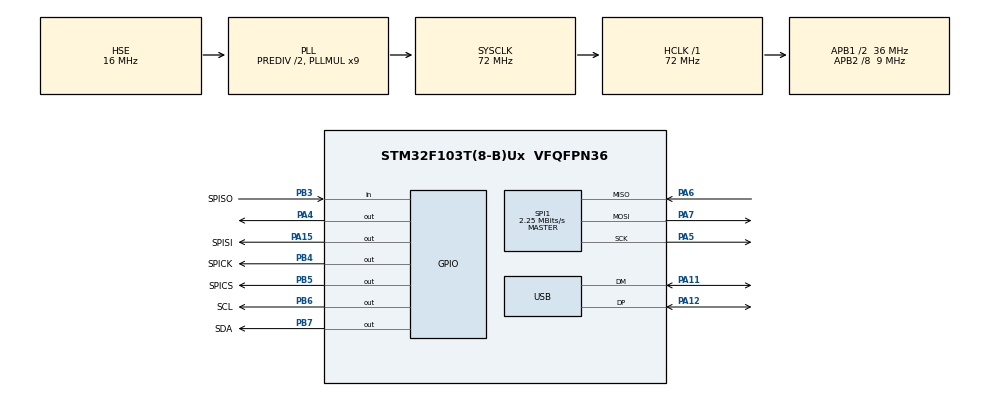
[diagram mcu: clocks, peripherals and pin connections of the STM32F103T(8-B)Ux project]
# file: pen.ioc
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FATFS._CODE_PAGE=936
FATFS._MAX_LFN=20
FATFS._MAX_SS=4096
FATFS._USE_LFN=2
FATFS._VOLUMES=2
Mcu.Family=STM32F1
Mcu.Name=STM32F103T(8-B)Ux
Mcu.Package=VFQFPN36
NVIC.PriorityGroup=NVIC_PRIORITYGROUP_4
NVIC.USB_LP_CAN1_RX0_IRQn=true\:0\:0\:false\:false\:true
PA11.Mode=Device
PA11.Signal=USB_DM
PA12.Mode=Device
PA12.Signal=USB_DP
PA13.Mode=Serial_Wire
PA13.Signal=SYS_JTMS-SWDIO
PA14.Mode=Serial_Wire
PA14.Signal=SYS_JTCK-SWCLK
PA15.GPIO_Label=SPISI
PA15.Signal=GPIO_Output
PA4.GPIO_Speed=GPIO_SPEED_FREQ_HIGH
PA4.Signal=GPIO_Output
PA5.Mode=Full_Duplex_Master
PA5.Signal=SPI1_SCK
PA6.Mode=Full_Duplex_Master
PA6.Signal=SPI1_MISO
PA7.Mode=Full_Duplex_Master
PA7.Signal=SPI1_MOSI
PB3.GPIO_Label=SPISO
PB3.GPIO_PuPd=GPIO_PULLUP
PB3.Signal=GPIO_Input
PB4.GPIO_Label=SPICK
PB4.Signal=GPIO_Output
PB5.GPIO_Label=SPICS
PB5.Signal=GPIO_Output
PB6.GPIO_Label=SCL
PB6.GPIO_Speed=GPIO_SPEED_FREQ_LOW
PB6.Signal=GPIO_Output
PB7.GPIO_Label=SDA
PB7.GPIO_Speed=GPIO_SPEED_FREQ_LOW
PB7.Signal=GPIO_Output
PD0-OSC_IN.Mode=HSE-External-Oscillator
PD0-OSC_IN.Signal=RCC_OSC_IN
PD1-OSC_OUT.Mode=HSE-External-Oscillator
PD1-OSC_OUT.Signal=RCC_OSC_OUT
ProjectManager.HeapSize=0x200
ProjectManager.StackSize=0x400
ProjectManager.TargetToolchain=EWARM
RCC.AHBFreq_Value=72000000
RCC.APB1CLKDivider=RCC_HCLK_DIV2
RCC.APB1Freq_Value=36000000
RCC.APB1TimFreq_Value=72000000
RCC.APB2CLKDivider=RCC_HCLK_DIV8
RCC.APB2Freq_Value=9000000
RCC.APB2TimFreq_Value=18000000
RCC.HCLKFreq_Value=72000000
RCC.HSEDivPLL=RCC_HSE_PREDIV_DIV2
RCC.HSE_VALUE=16000000
RCC.HSIState=RCC_HSI_ON
RCC.PLLMUL=RCC_PLL_MUL9
RCC.SYSCLKFreq_VALUE=72000000
RCC.SYSCLKSource=RCC_SYSCLKSOURCE_PLLCLK
RCC.USBFreq_Value=48000000
RCC.USBPrescaler=RCC_USBCLKSOURCE_PLL_DIV1_5
SPI1.BaudRatePrescaler=SPI_BAUDRATEPRESCALER_4
SPI1.CLKPhase=SPI_PHASE_2EDGE
SPI1.CLKPolarity=SPI_POLARITY_HIGH
SPI1.CalculateBaudRate=2.25 MBits/s
SPI1.Mode=SPI_MODE_MASTER
USB.ep0_mps=DEP0CTL_MPS_64
USB_DEVICE.CLASS_NAME_FS=MSC
USB_DEVICE.MSC_MEDIA_PACKET-MSC_FS=0x800
USB_DEVICE.VirtualModeFS=Msc_FS
VP_FATFS_VS_Generic.Mode=User_defined
VP_USB_DEVICE_VS_USB_DEVICE_MSC_FS.Mode=MSC_FS
board=pen

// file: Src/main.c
/**
  ******************************************************************************
  * File Name          : main.c
  * Description        : Main program body
  ******************************************************************************
  *
  * Copyright (c) 2018 STMicroelectronics International N.V.
  * All rights reserved.
  *
  * Redistribution and use in source and binary forms, with or without
  * modification, are permitted, provided that the following conditions are met:
  *
  * 1. Redistribution of source code must retain the above copyright notice,
  *    this list of conditions and the following disclaimer.
  * 2. Redistributions in binary form must reproduce the above copyright notice,
  *    this list of conditions and the following disclaimer in the documentation
  *    and/or other materials provided with the distribution.
  * 3. Neither the name of STMicroelectronics nor the names of other
  *    contributors to this software may be used to endorse or promote products
  *    derived from this software without specific written permission.
  * 4. This software, including modifications and/or derivative works of this
  *    software, must execute solely and exclusively on microcontroller or
  *    microprocessor devices manufactured by or for STMicroelectronics.
  * 5. Redistribution and use of this software other than as permitted under
  *    this license is void and will automatically terminate your rights under
  *    this license.
  *
  * THIS SOFTWARE IS PROVIDED BY STMICROELECTRONICS AND CONTRIBUTORS "AS IS"
  * AND ANY EXPRESS, IMPLIED OR STATUTORY WARRANTIES, INCLUDING, BUT NOT
  * LIMITED TO, THE IMPLIED WARRANTIES OF MERCHANTABILITY, FITNESS FOR A
  * PARTICULAR PURPOSE AND NON-INFRINGEMENT OF THIRD PARTY INTELLECTUAL PROPERTY
  * RIGHTS ARE DISCLAIMED TO THE FULLEST EXTENT PERMITTED BY LAW. IN NO EVENT
  * SHALL STMICROELECTRONICS OR CONTRIBUTORS BE LIABLE FOR ANY DIRECT, INDIRECT,
  * INCIDENTAL, SPECIAL, EXEMPLARY, OR CONSEQUENTIAL DAMAGES (INCLUDING, BUT NOT
  * LIMITED TO, PROCUREMENT OF SUBSTITUTE GOODS OR SERVICES; LOSS OF USE, DATA,
  * OR PROFITS; OR BUSINESS INTERRUPTION) HOWEVER CAUSED AND ON ANY THEORY OF
  * LIABILITY, WHETHER IN CONTRACT, STRICT LIABILITY, OR TORT (INCLUDING
  * NEGLIGENCE OR OTHERWISE) ARISING IN ANY WAY OUT OF THE USE OF THIS SOFTWARE,
  * EVEN IF ADVISED OF THE POSSIBILITY OF SUCH DAMAGE.
  *
  ******************************************************************************
  */
#include "main.h"
#include "stm32f1xx_hal.h"
#include "fatfs.h"
#include "usb_device.h"

/* USER CODE BEGIN Includes */
#include "oled.h"
#include "LCD_ZK.h"
#include "bsp_spiflash.h"
/* USER CODE END Includes */

SPI_HandleTypeDef hspi1;

/* USER CODE BEGIN PV */
/* Private variables ---------------------------------------------------------*/

/* USER CODE END PV */

void SystemClock_Config(void);
void Error_Handler(void);
static void MX_GPIO_Init(void);
static void MX_SPI1_Init(void);

/* USER CODE BEGIN PFP */
/* Private function prototypes -----------------------------------------------*/

/* USER CODE END PFP */

/* USER CODE BEGIN 0 */

#include "stdlib.h"
FATFS fs;/* FatFs文件系统对象 */
FIL file;/* 文件对象 */
FRESULT f_res;
unsigned int  fnum;  //文件成功读写数量
volatile unsigned char keyvalue=0;
volatile unsigned int timecnt=0;
extern void delay_ms(unsigned int ms);
unsigned char nextflag=1;
unsigned char str[30];

void keyinit(void)
{
  GPIO_InitTypeDef GPIO_InitStruct;
  GPIO_InitStruct.Pin = GPIO_PIN_8|GPIO_PIN_9|GPIO_PIN_10;
  GPIO_InitStruct.Mode = GPIO_MODE_INPUT;//输入
  GPIO_InitStruct.Pull=GPIO_PULLUP;//上拉
  GPIO_InitStruct.Speed = GPIO_SPEED_FREQ_LOW;
  HAL_GPIO_Init(GPIOA, &GPIO_InitStruct);
}

unsigned char readkey(void)
{
  volatile unsigned short tmp1=GPIOA->IDR;
  volatile unsigned short tmp2=GPIOA->IDR;
  volatile unsigned short tmp3=GPIOA->IDR;
  tmp1=(tmp1&(1<<8));
  tmp2=(tmp2&(1<<9));
  tmp3=(tmp3&(1<<10));
  if(tmp1==0)
  {
    return 1;
  }
  else if(tmp2==0)
  {
    return 2;
  }
  else if(tmp3==0)
  {
    return 3;
  }
  return 0;

}
#define Copyaddr 0x400000
#define Copyend  0x7FFFFF
unsigned int size;
//将文件读到flash
unsigned char copyflash(unsigned char nextf)
{

  unsigned char readtmp=0;
  unsigned int i;

  if(nextf==1)
  {
    size=file.fsize;
  }else
  {
    size=0;
  }

  for(i=0;i<size;i++)
  {
    if((i%0x1000)==0)
    {
      SPI_FLASH_SectorErase(i+Copyaddr);//写入前先删除
    }
    f_res=f_read(&file,&readtmp,1,&fnum); //一次读一个字节直到读完全部文件信息
    SPI_FLASH_BufferWrite( &readtmp ,i+Copyaddr,1);
    if(f_eof(&file))
    {
      f_close(&file);
      return 1;
    }else if(f_res!=FR_OK)
    {
      f_close(&file);
      sprintf((char *)str,"挂载失败%d",f_res);
      display_GB2312_string(2,1,str);
      return 1;
    }
    //SPI_FLASH_BufferRead( &readjup ,i+Copyaddr,1);
  }

  return 0;
}
unsigned int index=0;
unsigned char bufs[16];
unsigned char bufx[16];
unsigned char buffer[33]={0};
unsigned char ReadBuffer(unsigned int addrindex,unsigned char xs)
{

  unsigned int addr;
  unsigned char snumread;
  unsigned char xnumread;
  if(xs==2)
  {
    if(index>31)
    {
      index=addrindex-32;//不管上次显示了多少个一律上翻32个
    }
    if(index<30)index=0;
    addr=addrindex+Copyaddr;

  }else
  {
    addr=index+Copyaddr;
  }
  //上面
  SPI_FLASH_BufferRead(bufs,addr,16);
  if(bufs[14]>=0x20&&bufs[14]<=0x7e&&(bufs[15]<0x20||bufs[15]>0x7e))
  {
    bufs[15]=' ';
    snumread=15;//最后一个中文显示不下
  }else
  {
    snumread=16;//正常读了16个
  }
  //下面
  SPI_FLASH_BufferRead(bufx,addr+snumread,16);
  if(bufx[14]>=0x20&&bufx[14]<=0x7e&&(bufx[15]<0x20||bufx[15]>0x7e))
  {
    bufx[15]=' ';
    xnumread=15;//最后一个中文显示不下
  }else
  {
    xnumread=16;//正常读了16个
  }

  if(xs==1)
  {
    index=index+snumread+xnumread;//一共读到的个数
  }
  memcpy(buffer,bufs,16);
  memcpy(&buffer[16],bufx,16);
  buffer[32]=0;
  return 1;
}

/* USER CODE END 0 */

int main(void)
{

  /* MCU Configuration----------------------------------------------------------*/

  /* Reset of all peripherals, Initializes the Flash interface and the Systick. */
  HAL_Init();

  /* Configure the system clock */
  SystemClock_Config();

  /* Initialize all configured peripherals */
  MX_GPIO_Init();
  FLASH_SPI_CS_DISABLE();//刚开机不能片选 不然影响驱动
  MX_SPI1_Init();
  MX_USB_DEVICE_Init();
  MX_FATFS_Init();

  /* USER CODE BEGIN 2 */
  //HAL_FLASH_Unlock();
  keyinit();
  initial_rom();

  OLED_Init();

  OLED_Clear();
  display_GB2312_string(2,1,"----欢迎使用----");
  delay_ms(2000);

  //加载驱动
  if(nextflag==1)
  {
    OLED_Clear();
    if(FATFS_LinkDriver(&USER_Driver, USER_Path) == 0)// 注册一个FatFS设备：串行FLASH
    {
      nextflag=1;
    }else
    {
      nextflag=0;
      display_GB2312_string(2,1,"FATFS驱动加载失败！");
    }
  }
  //挂载文件系统
  if(nextflag==1)
  {
    OLED_Clear();
    f_res =f_mount(&fs,(TCHAR const*)USER_Path,1);
    if(f_res==FR_OK)
    {
      nextflag=1;
      display_GB2312_string(2,1,"文件系统挂载成功！");
    }else
    {
      nextflag=0;
      sprintf((char *)str,"挂载失败%d",f_res);
      display_GB2312_string(2,1,str);
    }
  }

  unsigned char TXTPath[9];
  TXTPath[0]=USER_Path[0];
  TXTPath[1]=USER_Path[1];
  TXTPath[2]=USER_Path[2];
  TXTPath[3]='1';
  TXTPath[4]='.';
  TXTPath[5]='t';
  TXTPath[6]='x';
  TXTPath[7]='t';
  TXTPath[8]=0;
  //打开文件
  if(nextflag==1)
  {
    OLED_Clear();
    if(FR_OK ==f_open(&file, (const char *)TXTPath, FA_OPEN_EXISTING|FA_READ))
    {
      nextflag=1;
      sprintf((char *)str,"TXT大小:%d",file.fsize);
      display_GB2312_string(2,1,str);

    }else
    {
      nextflag=0;
      sprintf((char *)str,"打开失败%d",f_res);
      display_GB2312_string(2,1,str);
    }
  }
  copyflash(nextflag);
  /* USER CODE END 2 */

  /* Infinite loop */
  while (1)
  {

  /* USER CODE BEGIN 3 */
    if(keyvalue==1||keyvalue==2)
    {
 Lgto:
      OLED_Clear();
      if(index<size+32)
      {
        if(ReadBuffer(index,keyvalue)==1)
        {
          display_GB2312_string(2,1,buffer);
        }
      }else
      {
        display_GB2312_string(2,1,"-------完-------");
        index=0;
      }
      keyvalue=0;
    }else if(keyvalue==3)
    {
      static unsigned char flagrest=0;

      keyvalue=0;
      index=0;
      if(flagrest==0)
      {
        flagrest=1;
        OLED_Clear();
      }else if(flagrest==1)
      {
        flagrest=0;
        goto Lgto;
      }
    }
  }
  /* USER CODE END 3 */

}

/** System Clock Configuration
*/
void SystemClock_Config(void)
{

  RCC_OscInitTypeDef RCC_OscInitStruct;
  RCC_ClkInitTypeDef RCC_ClkInitStruct;
  RCC_PeriphCLKInitTypeDef PeriphClkInit;

    /**Initializes the CPU, AHB and APB busses clocks
    */
  RCC_OscInitStruct.OscillatorType = RCC_OSCILLATORTYPE_HSE;
  RCC_OscInitStruct.HSEState = RCC_HSE_ON;
  RCC_OscInitStruct.HSEPredivValue = RCC_HSE_PREDIV_DIV2;
  RCC_OscInitStruct.HSIState = RCC_HSI_ON;
  RCC_OscInitStruct.PLL.PLLState = RCC_PLL_ON;
  RCC_OscInitStruct.PLL.PLLSource = RCC_PLLSOURCE_HSE;
  RCC_OscInitStruct.PLL.PLLMUL = RCC_PLL_MUL9;
  if (HAL_RCC_OscConfig(&RCC_OscInitStruct) != HAL_OK)
  {
    Error_Handler();
  }

    /**Initializes the CPU, AHB and APB busses clocks
    */
  RCC_ClkInitStruct.ClockType = RCC_CLOCKTYPE_HCLK|RCC_CLOCKTYPE_SYSCLK
                              |RCC_CLOCKTYPE_PCLK1|RCC_CLOCKTYPE_PCLK2;
  RCC_ClkInitStruct.SYSCLKSource = RCC_SYSCLKSOURCE_PLLCLK;
  RCC_ClkInitStruct.AHBCLKDivider = RCC_SYSCLK_DIV1;
  RCC_ClkInitStruct.APB1CLKDivider = RCC_HCLK_DIV2;
  RCC_ClkInitStruct.APB2CLKDivider = RCC_HCLK_DIV8;

  if (HAL_RCC_ClockConfig(&RCC_ClkInitStruct, FLASH_LATENCY_2) != HAL_OK)
  {
    Error_Handler();
  }

  PeriphClkInit.PeriphClockSelection = RCC_PERIPHCLK_USB;
  PeriphClkInit.UsbClockSelection = RCC_USBCLKSOURCE_PLL_DIV1_5;
  if (HAL_RCCEx_PeriphCLKConfig(&PeriphClkInit) != HAL_OK)
  {
    Error_Handler();
  }

    /**Configure the Systick interrupt time
    */
  HAL_SYSTICK_Config(HAL_RCC_GetHCLKFreq()/1000);

    /**Configure the Systick
    */
  HAL_SYSTICK_CLKSourceConfig(SYSTICK_CLKSOURCE_HCLK);

  /* SysTick_IRQn interrupt configuration */
  HAL_NVIC_SetPriority(SysTick_IRQn, 0, 0);
}

/* SPI1 init function */
static void MX_SPI1_Init(void)
{

  hspi1.Instance = SPI1;
  hspi1.Init.Mode = SPI_MODE_MASTER;
  hspi1.Init.Direction = SPI_DIRECTION_2LINES;
  hspi1.Init.DataSize = SPI_DATASIZE_8BIT;
  hspi1.Init.CLKPolarity = SPI_POLARITY_HIGH;
  hspi1.Init.CLKPhase = SPI_PHASE_2EDGE;
  hspi1.Init.NSS = SPI_NSS_SOFT;
  hspi1.Init.BaudRatePrescaler = SPI_BAUDRATEPRESCALER_4;
  hspi1.Init.FirstBit = SPI_FIRSTBIT_MSB;
  hspi1.Init.TIMode = SPI_TIMODE_DISABLE;
  hspi1.Init.CRCCalculation = SPI_CRCCALCULATION_DISABLE;
  hspi1.Init.CRCPolynomial = 10;
  if (HAL_SPI_Init(&hspi1) != HAL_OK)
  {
    Error_Handler();
  }

}

/** Configure pins as
        * Analog
        * Input
        * Output
        * EVENT_OUT
        * EXTI
*/
static void MX_GPIO_Init(void)
{

  GPIO_InitTypeDef GPIO_InitStruct;

  /* GPIO Ports Clock Enable */
  __HAL_RCC_GPIOD_CLK_ENABLE();
  __HAL_RCC_GPIOA_CLK_ENABLE();
  __HAL_RCC_GPIOB_CLK_ENABLE();

  /*Configure GPIO pin Output Level */
  HAL_GPIO_WritePin(GPIOA, GPIO_PIN_4|SPISI_Pin, GPIO_PIN_RESET);

  /*Configure GPIO pin Output Level */
  HAL_GPIO_WritePin(GPIOB, SPICK_Pin|SPICS_Pin|SCL_Pin|SDA_Pin, GPIO_PIN_RESET);

  /*Configure GPIO pin : PA4 */
  GPIO_InitStruct.Pin = GPIO_PIN_4;
  GPIO_InitStruct.Mode = GPIO_MODE_OUTPUT_PP;
  GPIO_InitStruct.Speed = GPIO_SPEED_FREQ_HIGH;
  HAL_GPIO_Init(GPIOA, &GPIO_InitStruct);

  /*Configure GPIO pin : SPISI_Pin */
  GPIO_InitStruct.Pin = SPISI_Pin;
  GPIO_InitStruct.Mode = GPIO_MODE_OUTPUT_PP;
  GPIO_InitStruct.Speed = GPIO_SPEED_FREQ_LOW;
  HAL_GPIO_Init(SPISI_GPIO_Port, &GPIO_InitStruct);

  /*Configure GPIO pin : SPISO_Pin */
  GPIO_InitStruct.Pin = SPISO_Pin;
  GPIO_InitStruct.Mode = GPIO_MODE_INPUT;
  GPIO_InitStruct.Pull = GPIO_PULLUP;
  HAL_GPIO_Init(SPISO_GPIO_Port, &GPIO_InitStruct);

  /*Configure GPIO pins : SPICK_Pin SPICS_Pin SCL_Pin SDA_Pin */
  GPIO_InitStruct.Pin = SPICK_Pin|SPICS_Pin|SCL_Pin|SDA_Pin;
  GPIO_InitStruct.Mode = GPIO_MODE_OUTPUT_PP;
  GPIO_InitStruct.Speed = GPIO_SPEED_FREQ_LOW;
  HAL_GPIO_Init(GPIOB, &GPIO_InitStruct);

}

void Error_Handler(void)
{
  while(1)
  {
  }
}

/************************ (C) COPYRIGHT STMicroelectronics *****END OF FILE****/
